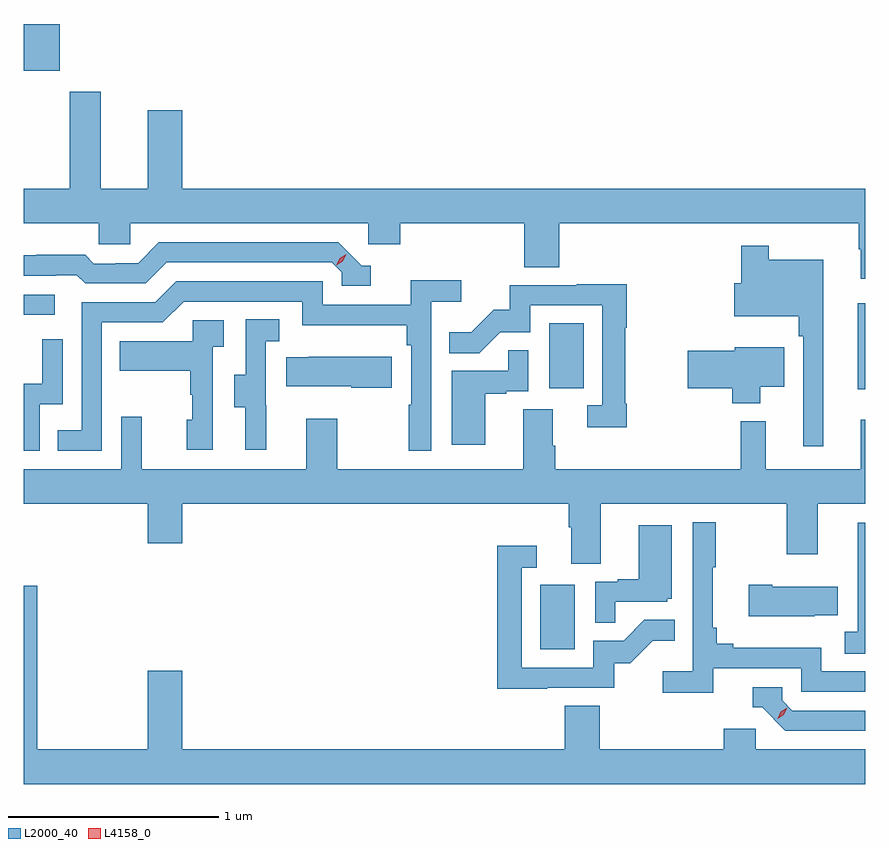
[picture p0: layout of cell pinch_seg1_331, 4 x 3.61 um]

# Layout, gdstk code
import gdstk
lib = gdstk.Library(unit=1e-6, precision=1e-09)
def R(c, l, rs):  # rectangles x0, y0, x1, y1
    for r in rs: c.add(gdstk.rectangle(r[:2], r[2:], *l))
def P(c, l, *ps):  # polygons
    for p in ps: c.add(gdstk.Polygon(p, *l))
L2000_40 = (2000, 40)
L4158_0 = (4158, 0)

pinch_seg1_331 = lib.new_cell('pinch_seg1_331')
R(pinch_seg1_331, L2000_40, [(982.058,555.036,982.222,555.343), (983.567,556.271,983.603,556.681), (982.1,556.278,982.264,556.585), (979.603,556.626,979.75,556.722), (979.603,557.786,979.774,558.008)])
P(pinch_seg1_331, L2000_40, [(983.603,557.224),(980.356,557.224),(980.356,557.599),(980.192,557.599),(980.192,557.224),(979.969,557.224),(979.969,557.686),(979.822,557.686),(979.822,557.224),(979.603,557.224),(979.603,557.06),(979.959,557.06),(979.959,556.962),(980.109,556.962),(980.109,557.06),(981.24,557.06),(981.24,556.962),(981.392,556.962),(981.392,557.06),(981.983,557.06),(981.983,556.852),(982.148,556.852),(982.148,557.06),(983.571,557.06),(983.571,556.937),(983.582,556.937),(983.582,556.797),(983.603,556.797)],
  [(981.253,556.86),(981.21,556.86),(981.099,556.971),(980.246,556.971),(980.147,556.872),(980.04,556.872),(980.04,556.869),(979.937,556.869),(979.895,556.912),(979.662,556.912),(979.662,556.909),(979.603,556.909),(979.603,556.812),(979.757,556.812),(979.757,556.815),(979.856,556.815),(979.895,556.776),(980.184,556.776),(980.283,556.875),(981.066,556.875),(981.114,556.827),(981.114,556.764),(981.253,556.764)],
  [(983.404,556.888),(983.143,556.888),(983.143,556.954),(983.014,556.954),(983.014,556.777),(982.98,556.777),(982.98,556.619),(983.287,556.619),(983.287,556.523),(983.307,556.523),(983.307,556.002),(983.404,556.002)],
  [(979.974,556.59),(980.265,556.59),(980.364,556.689),(980.928,556.689),(980.928,556.577),(981.424,556.577),(981.424,556.481),(981.444,556.481),(981.444,556.199),(981.432,556.199),(981.432,555.981),(981.54,555.981),(981.54,556.688),(981.682,556.688),(981.682,556.79),(981.443,556.79),(981.443,556.674),(981.024,556.674),(981.024,556.785),(980.327,556.785),(980.228,556.686),(979.878,556.686),(979.878,556.077),(979.765,556.077),(979.765,555.981),(979.974,555.981)],
  [(982.469,556.204),(982.462,556.204),(982.462,556.564),(982.469,556.564),(982.469,556.772),(982.231,556.772),(982.231,556.767),(981.913,556.767),(981.913,556.65),(981.836,556.65),(981.729,556.543),(981.625,556.543),(981.625,556.444),(981.769,556.444),(981.867,556.542),(982.011,556.542),(982.011,556.671),(982.353,556.671),(982.353,556.197),(982.281,556.197),(982.281,556.092),(982.469,556.092)],
  [(980.756,556.197),(980.754,556.197),(980.754,556.501),(980.818,556.501),(980.818,556.604),(980.658,556.604),(980.658,556.341),(980.603,556.341),(980.603,556.186),(980.657,556.186),(980.657,555.984),(980.756,555.984)],
  [(980.502,556.475),(980.554,556.475),(980.554,556.599),(980.406,556.599),(980.406,556.501),(980.059,556.501),(980.059,556.361),(980.394,556.361),(980.394,556.247),(980.404,556.247),(980.404,556.128),(980.378,556.128),(980.378,555.984),(980.502,555.984)],
  [(979.68,556.2),(979.788,556.2),(979.788,556.51),(979.692,556.51),(979.692,556.298),(979.603,556.298),(979.603,555.981),(979.68,555.981)],
  [(983.104,556.283),(983.218,556.283),(983.218,556.471),(982.982,556.471),(982.982,556.454),(982.758,556.454),(982.758,556.276),(982.97,556.276),(982.97,556.205),(983.104,556.205)],
  [(981.796,556.251),(981.896,556.251),(981.896,556.263),(982.002,556.263),(982.002,556.457),(981.907,556.457),(981.907,556.359),(981.638,556.359),(981.638,556.008),(981.796,556.008)],
  [(981.352,556.426),(980.959,556.426),(980.959,556.423),(980.851,556.423),(980.851,556.286),(981.161,556.286),(981.161,556.279),(981.352,556.279)],
  [(982.345,555.728),(983.23,555.728),(983.23,555.489),(983.377,555.489),(983.377,555.728),(983.603,555.728),(983.603,556.126),(983.582,556.126),(983.582,555.892),(983.129,555.892),(983.129,556.12),(983.011,556.12),(983.011,555.892),(982.13,555.892),(982.13,556.004),(982.117,556.004),(982.117,556.178),(981.977,556.178),(981.977,555.892),(981.093,555.892),(981.093,556.132),(980.945,556.132),(980.945,555.892),(980.165,555.892),(980.165,556.141),(980.067,556.141),(980.067,555.892),(979.603,555.892),(979.603,555.728),(980.192,555.728),(980.192,555.54),(980.356,555.54),(980.356,555.728),(982.193,555.728),(982.193,555.616),(982.205,555.616),(982.205,555.442),(982.345,555.442)],
  [(982.88,554.946),(983.298,554.946),(983.298,554.835),(983.603,554.835),(983.603,554.931),(983.394,554.931),(983.394,555.043),(982.975,555.043),(982.975,555.062),(982.898,555.062),(982.898,555.139),(982.879,555.139),(982.879,555.427),(982.891,555.427),(982.891,555.64),(982.782,555.64),(982.782,554.932),(982.641,554.932),(982.641,554.83),(982.88,554.83)],
  [(983.603,555.637),(983.567,555.637),(983.567,555.423),(983.568,555.423),(983.568,555.119),(983.505,555.119),(983.505,555.016),(983.603,555.016)],
  [(982.415,555.261),(982.662,555.261),(982.662,555.276),(982.684,555.276),(982.684,555.625),(982.526,555.625),(982.526,555.37),(982.427,555.37),(982.427,555.357),(982.32,555.357),(982.32,555.163),(982.415,555.163)],
  [(982.091,554.853),(982.41,554.853),(982.41,554.97),(982.486,554.97),(982.593,555.077),(982.697,555.077),(982.697,555.176),(982.553,555.176),(982.455,555.078),(982.311,555.078),(982.311,554.949),(981.969,554.949),(981.969,555.423),(982.042,555.423),(982.042,555.529),(981.853,555.529),(981.853,554.848),(982.091,554.848)],
  [(983.363,555.197),(983.471,555.197),(983.471,555.334),(983.161,555.334),(983.161,555.342),(983.049,555.342),(983.049,555.194),(983.363,555.194)],
  [(983.603,554.56),(983.082,554.56),(983.082,554.658),(982.931,554.658),(982.931,554.56),(982.34,554.56),(982.34,554.768),(982.175,554.768),(982.175,554.56),(980.356,554.56),(980.356,554.935),(980.192,554.935),(980.192,554.56),(979.667,554.56),(979.667,555.339),(979.603,555.339),(979.603,554.396),(983.603,554.396)],
  [(983.603,554.745),(983.256,554.745),(983.208,554.793),(983.208,554.856),(983.069,554.856),(983.069,554.76),(983.112,554.76),(983.223,554.649),(983.603,554.649)])
P(pinch_seg1_331, L4158_0, [(981.089,556.862),(981.089,556.862),(981.105,556.894),(981.136,556.913),(981.137,556.913),(981.137,556.913),(981.12,556.881),(981.089,556.862)],
  [(983.186,554.706),(983.186,554.706),(983.201,554.739),(983.232,554.759),(983.232,554.759),(983.232,554.759),(983.216,554.726),(983.186,554.706)])

lib.write_gds('pinch_seg1_331.gds')
